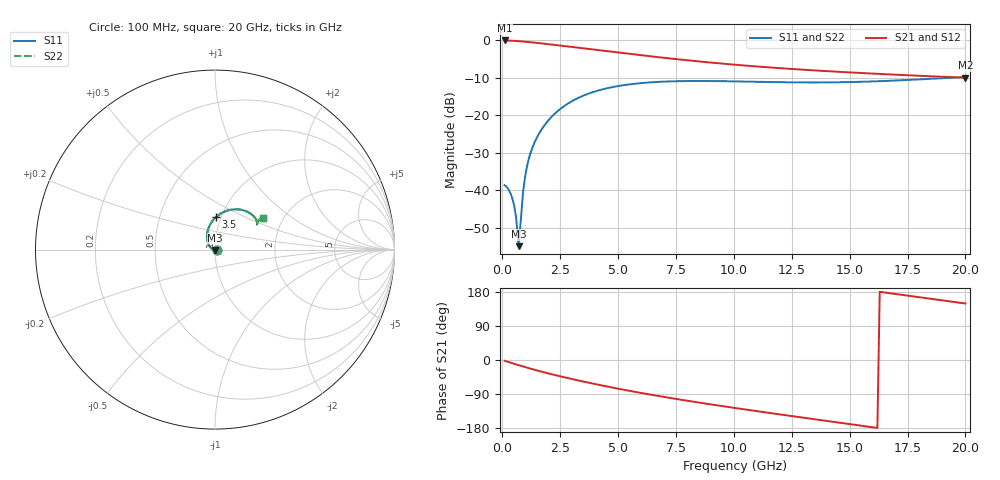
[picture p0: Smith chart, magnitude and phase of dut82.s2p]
! Touchstone file exported from HFSS 2024.1.0
!  File:  C:/UserFiles/LocalFiles/RDL_TSV_Batchsim/temp_RDL_TSV_82_1779414820.aedt
!  Generated:  10:11:48 AM May 22, 2026
!  Design:  RDL_TSV
!  Project:  temp_RDL_TSV_82_1779414820
!  Setup:  Setup1
!  Solution:  Sweep
! Variables:
!  dtsv = 13.26um
!  hbump = 3um
!  htsv = 67.65um
!  ldown = 491.96um
!  lrdl = 404.25um
!  p = 40
!  p1 = 59.4um
!  rhole = 10um
!  subl = 3092.88um
!  t = 450um
!  tdown = 3.53um
!  trdl = 4.33um
!  viad = 10um
!  wdown = 24.99um
!  wrdl = 25.37um
!  xbump = 18um
# GHz S MA R 50.000000
! Terminal data exported
! Port[1] = TM1_1_T1
! Port[2] = TM1_4_T1
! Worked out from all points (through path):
!   200 points, 100 MHz to 20 GHz, reference 50 ohm
!   highest |S21| = -0.11 dB at 100 MHz (marker M1); lowest = -10.0 dB at 20 GHz (marker M2)
!   group delay of S21, straight-line fit = 27.4 ps
!   lowest |S11| = -55.0 dB at 700 MHz (marker M3), VSWR 1.00, Z = 50.1 - j0.155 ohm
!   |S11| at or under -10 dB: start of sweep to 19.54 GHz
!   |S22| runs from -55.4 to -9.8 dB; largest |S21 - S12| = 2.4e-14
!   S11 on the Smith chart (normalised r, x): 100 MHz: 1.02, -0.00; 3.5 GHz: 0.95, +0.36; 20 GHz: 1.58, +0.63
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0.1  0.01162 -1.9  0.9876 -2.0  0.9876 -2.0  0.01162 -1.9
! Gamma 0 0 0 0
! Port Impedance 50 0 50 0
0.3  0.00982 -5.3  0.983 -6.0  0.983 -6.0  0.009849 -5.5
0.5  0.006492 -9.5  0.9761 -9.8  0.9761 -9.8  0.006466 -11.2
0.6  0.004247 -17.0  0.9718 -11.7  0.9718 -11.7  0.004105 -20.7
0.7  0.001784 -60.2  0.9671 -13.6  0.9671 -13.6  0.001694 -74.3
0.8  0.003979 -156.5  0.9618 -15.4  0.9618 -15.4  0.004357 -161.8
0.9  0.009563 -177.8  0.9562 -17.3  0.9562 -17.3  0.009829 179.3
1  0.01616 170.1  0.9502 -19.0  0.9502 -19.0  0.01622 168.3
1.1  0.02304 160.8  0.9438 -20.8  0.9438 -20.8  0.02297 159.8
1.2  0.02993 153.4  0.9373 -22.6  0.9373 -22.6  0.02981 152.9
1.4  0.04362 142.3  0.9235 -25.9  0.9235 -25.9  0.04356 142.2
1.8  0.07146 127.2  0.8949 -32.4  0.8949 -32.4  0.07155 127.2
2.2  0.09963 115.7  0.8659 -38.6  0.8659 -38.6  0.0998 115.8
2.8  0.1401 101.7  0.8233 -47.3  0.8233 -47.3  0.1403 101.7
3.5  0.1814 88.2  0.7758 -56.9  0.7758 -56.9  0.1817 88.2
4.9  0.2404 67.7  0.6881 -74.5  0.6881 -74.5  0.2408 67.7
6.8  0.2774 49.2  0.588 -95.5  0.588 -95.5  0.278 49.2
8.4  0.2846 39.5  0.5218 -111.4  0.5218 -111.4  0.2853 39.5
10.1  0.281 33.5  0.4674 -127.1  0.4674 -127.1  0.2817 33.5
13.4  0.2718 30.9  0.3951 -155.7  0.3951 -155.7  0.2726 30.8
16.7  0.286 33.4  0.3485 176.6  0.3485 176.6  0.2866 33.3
20  0.3217 33.6  0.3145 149.1  0.3145 149.1  0.3221 33.5
